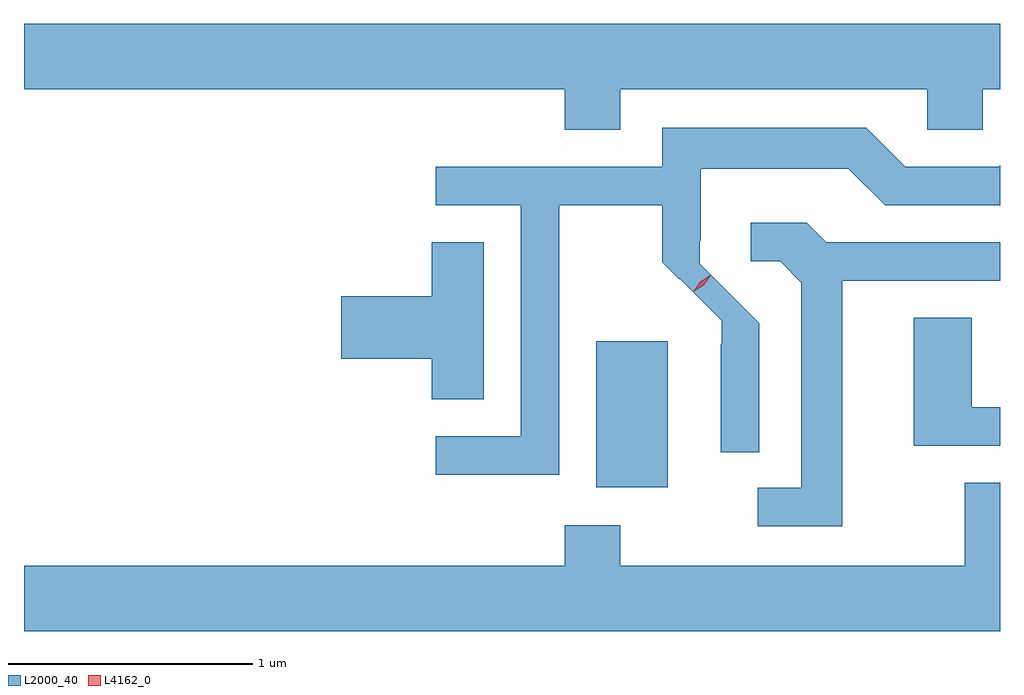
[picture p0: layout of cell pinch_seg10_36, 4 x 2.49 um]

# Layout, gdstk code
import gdstk
lib = gdstk.Library(unit=1e-6, precision=1e-09)
def R(c, l, rs):  # rectangles x0, y0, x1, y1
    for r in rs: c.add(gdstk.rectangle(r[:2], r[2:], *l))
def P(c, l, *ps):  # polygons
    for p in ps: c.add(gdstk.Polygon(p, *l))
L2000_40 = (2000, 40)
L4162_0 = (4162, 0)

pinch_seg10_36 = lib.new_cell('pinch_seg10_36')
R(pinch_seg10_36, L2000_40, [(598.921,2192.206,599.214,2192.804)])
P(pinch_seg10_36, L2000_40, [(599.019,2193.836),(600.276,2193.836),(600.276,2193.671),(600.504,2193.671),(600.504,2193.836),(600.575,2193.836),(600.575,2194.104),(596.575,2194.104),(596.575,2193.836),(598.791,2193.836),(598.791,2193.671),(599.019,2193.671)],
  [(598.769,2193.361),(599.191,2193.361),(599.191,2193.127),(599.261,2193.057),(599.263,2193.059),(599.434,2192.888),(599.434,2192.792),(599.431,2192.792),(599.431,2192.348),(599.589,2192.348),(599.589,2192.877),(599.345,2193.121),(599.345,2193.215),(599.349,2193.215),(599.349,2193.511),(599.954,2193.511),(600.104,2193.361),(600.575,2193.361),(600.575,2193.525),(600.569,2193.519),(600.187,2193.519),(600.027,2193.679),(599.191,2193.679),(599.191,2193.519),(598.263,2193.519),(598.263,2193.361),(598.611,2193.361),(598.611,2192.414),(598.263,2192.414),(598.263,2192.256),(598.769,2192.256)],
  [(599.929,2193.051),(600.575,2193.051),(600.575,2193.209),(599.862,2193.209),(599.782,2193.289),(599.553,2193.289),(599.553,2193.131),(599.674,2193.131),(599.761,2193.044),(599.761,2192.204),(599.583,2192.204),(599.583,2192.046),(599.929,2192.046)],
  [(598.459,2193.209),(598.246,2193.209),(598.246,2192.989),(597.876,2192.989),(597.876,2192.731),(598.246,2192.731),(598.246,2192.566),(598.459,2192.566)],
  [(600.575,2192.534),(600.459,2192.534),(600.459,2192.899),(600.221,2192.899),(600.221,2192.376),(600.575,2192.376)],
  [(600.575,2192.224),(600.431,2192.224),(600.431,2191.884),(599.019,2191.884),(599.019,2192.049),(598.791,2192.049),(598.791,2191.884),(596.575,2191.884),(596.575,2191.616),(600.575,2191.616)])
P(pinch_seg10_36, L4162_0, [(599.321,2193.01),(599.321,2193.01),(599.347,2193.048),(599.385,2193.072),(599.386,2193.072),(599.386,2193.072),(599.36,2193.034),(599.322,2193.01)],
  [(599.317,2193.006),(599.317,2193.006),(599.347,2193.048),(599.389,2193.076),(599.39,2193.076),(599.39,2193.075),(599.361,2193.033),(599.318,2193.006)])

lib.write_gds('pinch_seg10_36.gds')
